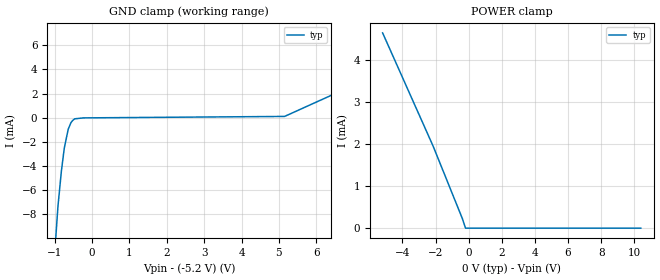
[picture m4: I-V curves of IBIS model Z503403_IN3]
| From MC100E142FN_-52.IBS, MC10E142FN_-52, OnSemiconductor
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| (C) COPYRIGHT 1993-2000
| MENTOR GRAPHICS CORPORATION
| ICX STANDARD LIBRARY, ICX PROJECT MODELING,
| ICX CUSTOM MODELING, ICX VENDOR MODEL
| ALL RIGHTS RESERVED.
| THE FOLLOWING ARE TRADEMARKS OR SERVICE MARKS OF
| MENTOR GRAPHICS CORPORATION:ICX (R), ICX STANDARD
| LIBRARY(R), ICX PROJECT MODELING(R), ICX CUSTOM
| MODELING(R), qualityIBIS(TM), MODELVIEWER(TM),
| AND MODELEDITOR(TM)
| ALL COPIES OF SOFTWARE, INCLUDING BUT NOT LIMITED TO
| ANY MODIFICATIONS, ENHANCEMENTS OR DERIVATIVE WORKS,
| MUST CONTAIN ALL MENTOR GRAPHICS CORPORATION'S
| NOTICES AND LEGENDS, INCLUDING THOSE EMBEDDED IN
| SOFTWARE AND THOSE AFFIXED TO SOFTWARE MEDIUM
| AND CONTAINER, AS RECEIVED FROM MENTOR GRAPHICS
| CORPORATION.
| Model Application Version 1.89 2/18/99.
[Model] Z503403_IN3
Model_type Input_ECL
Vinl = -1.480V
Vinh = -1.130V
C_comp 4.000pF NA NA
| variable typ   min   max
[Voltage Range] -5.200V NA NA
[GND Clamp Reference] -5.200V NA NA
[POWER Clamp Reference] 0.000V NA NA
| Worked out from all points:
|   GND clamp passes 1 mA (typ) near -0.64 V on its own axis
[GND Clamp]
-5.2V     -281.3mA   NA         NA
-1.064V   -14.16mA   NA         NA
-913mV    -7.37mA    NA         NA
-821mV    -4.444mA   NA         NA
-743mV    -2.533mA   NA         NA
-639mV    -973.1uA   NA         NA
-566mV    -423.6uA   NA         NA
-523mV    -249.1uA   NA         NA
-466mV    -96.14uA   NA         NA
-233mV    -18.43uA   NA         NA
5.151V    101.8uA    NA         NA
10.4V     7.449mA    NA         NA
[POWER Clamp]
-5.2V     4.644mA    NA         NA
-2.148V   1.95mA     NA         NA
-381.2mV  226.7uA    NA         NA
-190.6mV  0A         NA         NA
10.4V     0A         NA         NA
